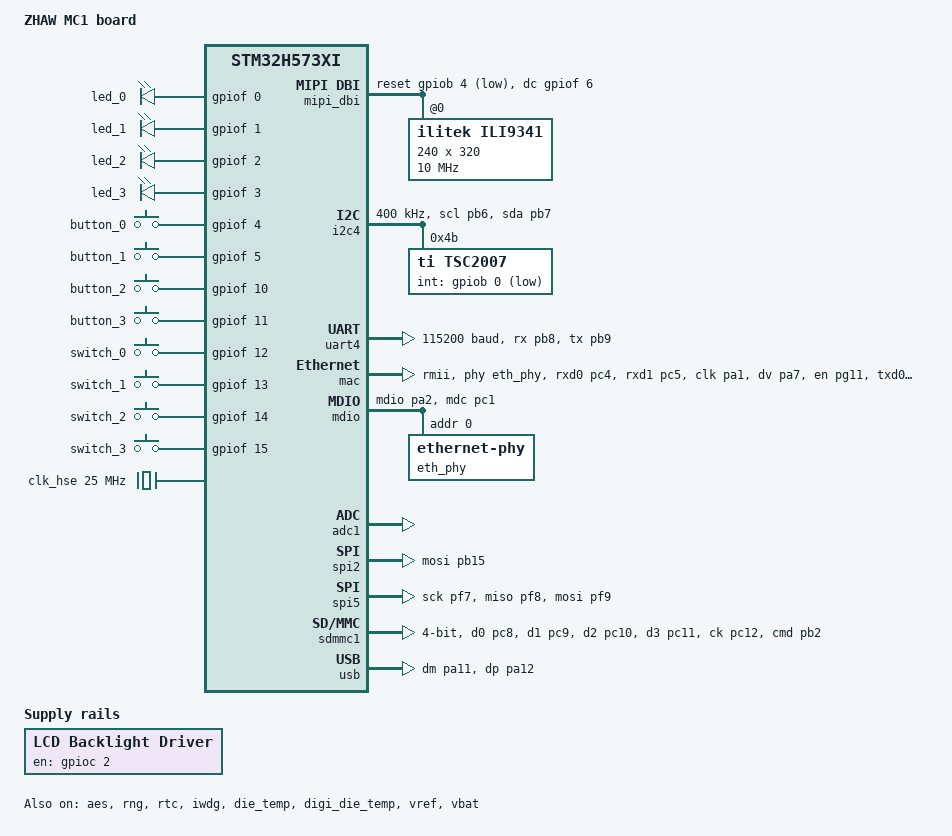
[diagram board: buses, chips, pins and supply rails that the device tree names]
/*
 * SPDX-FileCopyrightText: Copyright (c) 2026, Institute of Embedded Systems ZHAW
 * SPDX-License-Identifier: Apache-2.0
 */

/dts-v1/;
#include <st/h5/stm32h573Xi.dtsi>
#include <st/h5/stm32h573iikxq-pinctrl.dtsi>
#include <zephyr/dt-bindings/input/input-event-codes.h>
#include <zephyr/dt-bindings/memory-attr/memory-attr.h>
#include <zephyr/dt-bindings/memory-attr/memory-attr-arm.h>
#include <zephyr/dt-bindings/memory-controller/stm32-fmc-nor-psram.h>
#include <zephyr/dt-bindings/mipi_dbi/mipi_dbi.h>

/ {
	model = "ZHAW MC1 board";
	compatible = "zhaw,mc1board";

	chosen {
		zephyr,console = &uart4;
		zephyr,shell-uart = &uart4;
		zephyr,sram = &sram1;
		zephyr,flash = &flash0;
		zephyr,canbus = &fdcan1;
		zephyr,display = &ili9341;
	};

	aliases {
		watchdog0 = &iwdg;
		die-temp0 = &die_temp;
		die-temp1 = &digi_die_temp;
		volt-sensor0 = &vref;
		volt-sensor1 = &vbat;
		led0 = &led_0;
		led1 = &led_1;
		led2 = &led_2;
		led3 = &led_3;
		t0 = &button_0;
		t1 = &button_1;
		t2 = &button_2;
		t3 = &button_3;
		sw0 = &switch_0;
		sw1 = &switch_1;
		sw2 = &switch_2;
		sw3 = &switch_3;
	};

	leds {
		compatible = "gpio-leds";

		led_0: led_0 {
			gpios = <&gpiof 0 GPIO_ACTIVE_HIGH>;
		};

		led_1: led-1 {
			gpios = <&gpiof 1 GPIO_ACTIVE_HIGH>;
		};

		led_2: led-2 {
			gpios = <&gpiof 2 GPIO_ACTIVE_HIGH>;
		};

		led_3: led-3 {
			gpios = <&gpiof 3 GPIO_ACTIVE_HIGH>;
		};
	};

	gpio_keys {
		compatible = "gpio-keys";

		button_0: button-0 {
			gpios = <&gpiof 4 GPIO_ACTIVE_HIGH>;
			zephyr,code = <INPUT_KEY_0>;
		};

		button_1: button-1 {
			gpios = <&gpiof 5 GPIO_ACTIVE_HIGH>;
			zephyr,code = <INPUT_KEY_1>;
		};

		button_2: button-2 {
			gpios = <&gpiof 10 GPIO_ACTIVE_HIGH>;
			zephyr,code = <INPUT_KEY_2>;
		};

		button_3: button-3 {
			gpios = <&gpiof 11 GPIO_ACTIVE_HIGH>;
			zephyr,code = <INPUT_KEY_3>;
		};

		switch_0: switch-0 {
			gpios = <&gpiof 12 GPIO_ACTIVE_HIGH>;
			zephyr,code = <INPUT_KEY_4>;
		};

		switch_1: switch-1 {
			gpios = <&gpiof 13 GPIO_ACTIVE_HIGH>;
			zephyr,code = <INPUT_KEY_5>;
		};

		switch_2: switch-2 {
			gpios = <&gpiof 14 GPIO_ACTIVE_HIGH>;
			zephyr,code = <INPUT_KEY_6>;
		};

		switch_3: switch-3 {
			gpios = <&gpiof 15 GPIO_ACTIVE_HIGH>;
			zephyr,code = <INPUT_KEY_7>;
		};
	};

	lcd_bl_ctrl {
		compatible = "regulator-fixed";
		regulator-name = "LCD Backlight Driver";
		enable-gpios = <&gpioc 2 GPIO_ACTIVE_HIGH>;
		regulator-boot-on;
	};

	mipi_dbi {
		compatible = "zephyr,mipi-dbi-spi";
		dc-gpios = <&gpiof 6 GPIO_ACTIVE_HIGH>;
		reset-gpios = <&gpiob 4 GPIO_ACTIVE_LOW>;
		spi-dev = <&spi5>;
		write-only;
		#address-cells = <0x1>;
		#size-cells = <0x0>;

		ili9341: ili9341@0 {
			compatible = "ilitek,ili9341";
			mipi-max-frequency = <0x989680>;
			reg = <0x0>;
			width = <240>;
			height = <320>;
			rotation = <180>;
			mipi-mode = "MIPI_DBI_MODE_SPI_4WIRE";
			pixel-format = <0x0>;
		};
	};

	lvgl_pointer {
		compatible = "zephyr,lvgl-pointer-input";
		input = <&tsc2007>;
		display = <&ili9341>;
		invert-y;
	};
};

&clk_hsi48 {
	status = "okay";
};

&clk_lse {
	status = "okay";
};

&clk_hse {
	clock-frequency = <DT_FREQ_M(25)>;
	status = "okay";
};

&pll {
	div-m = <5>;
	mul-n = <96>;
	div-p = <2>;
	div-q = <10>;
	div-r = <2>;
	clocks = <&clk_hse>;
	status = "okay";
};

&rcc {
	clocks = <&pll>;
	clock-frequency = <DT_FREQ_M(240)>;
	ahb-prescaler = <1>;
	apb1-prescaler = <2>;
	apb2-prescaler = <1>;
	apb3-prescaler = <1>;
};

&i2c4 {
	pinctrl-0 = <&i2c4_scl_pb6 &i2c4_sda_pb7>;
	pinctrl-names = "default";
	clock-frequency = <I2C_BITRATE_FAST>;
	status = "okay";

	tsc2007: tsc2007@4b {
		compatible = "ti,tsc2007";
		status = "okay";
		reg = <0x4b>;
		int-gpios = <&gpiob 0 GPIO_ACTIVE_LOW>;
		screen-width = <240>;
		screen-height = <320>;
		raw-x-min = <0>;
		raw-y-min = <0>;
		raw-x-max = <4095>;
		raw-y-max = <4095>;
	};
};

&uart4 {
	pinctrl-0 = <&uart4_rx_pb8 &uart4_tx_pb9>;
	pinctrl-names = "default";
	current-speed = <115200>;
	single-wire;
	status = "okay";
};

&aes {
	status = "okay";
};

&rng {
	status = "okay";
};

&mac {
	status = "okay";
	pinctrl-0 = <&eth_rxd0_pc4
		     &eth_rxd1_pc5
		     &eth_ref_clk_pa1
		     &eth_crs_dv_pa7
		     &eth_tx_en_pg11
		     &eth_txd0_pg13
		     &eth_txd1_pg12>;
	pinctrl-names = "default";
	phy-connection-type = "rmii";
	phy-handle = <&eth_phy>;
};

&mdio {
	status = "okay";
	pinctrl-0 = <&eth_mdio_pa2 &eth_mdc_pc1>;
	pinctrl-names = "default";

	eth_phy: ethernet-phy@0 {
		compatible = "ethernet-phy";
		reg = <0x00>;
	};
};

&flash0 {
	partitions {
		compatible = "fixed-partitions";
		#address-cells = <1>;
		#size-cells = <1>;

		slot0_partition: partition@0 {
			label = "image-0";
			reg = <0x00000000 DT_SIZE_K(1024)>;
		};
	};
};

&rtc {
	clocks = <&rcc STM32_CLOCK_BUS_APB3 0x00200000>,
		 <&rcc STM32_SRC_LSE RTC_SEL(1)>;
	status = "okay";
};

&iwdg {
	status = "okay";
};

&gpdma1 {
	status = "okay";
};

&gpdma2 {
	status = "okay";
};

&adc1 {
	clocks = <&rcc STM32_CLOCK(AHB2, 10)>,
		 <&rcc STM32_SRC_HCLK ADCDAC_SEL(0)>;
	clock-names = "adcx", "adc_ker";
	st,adc-clock-source = "ASYNC";
	st,adc-prescaler = <6>;
	status = "okay";
};

&spi2 {
	status = "okay";
	pinctrl-0 = <&spi2_mosi_pb15>;
	pinctrl-names = "default";
	dmas = <&gpdma1 0 9 0x10440>, <&gpdma1 1 8 0x10480>;
	dma-names = "tx", "rx";
};

&spi5 {
	status = "okay";
	pinctrl-0 = <&spi5_sck_pf7 &spi5_miso_pf8 &spi5_mosi_pf9>;
	cs-gpios = <&gpioc 3 GPIO_ACTIVE_LOW>;
	pinctrl-names = "default";
};

&spi6 {
	status = "disabled";
	pinctrl-0 = <&spi6_sck_pa5 &spi6_miso_pa6 &spi6_mosi_pb5>;
	pinctrl-names = "default";
};

&sdmmc1 {
	compatible = "st,stm32-sdmmc";
	pinctrl-0 = <&sdmmc1_d0_pc8 &sdmmc1_d1_pc9
		     &sdmmc1_d2_pc10 &sdmmc1_d3_pc11
		     &sdmmc1_ck_pc12 &sdmmc1_cmd_pb2>;
	pinctrl-names = "default";
	bus-width = <4>;
	clk-div = <0>;
	idma;
	disk-name = "SD";
	status = "okay";
};

zephyr_udc0: &usb {
	pinctrl-0 = <&usb_dm_pa11 &usb_dp_pa12>;
	pinctrl-names = "default";
	status = "okay";
};

&die_temp {
	status = "okay";
};

&digi_die_temp {
	status = "okay";
};

&vref {
	status = "okay";
};

&vbat {
	status = "okay";
};
